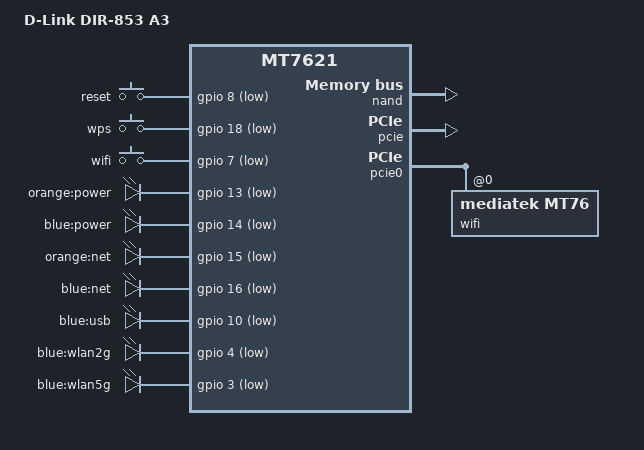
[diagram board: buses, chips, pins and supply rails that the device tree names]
// SPDX-License-Identifier: GPL-2.0-or-later OR MIT

#include "mt7621.dtsi"

#include <dt-bindings/gpio/gpio.h>
#include <dt-bindings/input/input.h>

/ {
	compatible = "dlink,dir-853-a3", "mediatek,mt7621-soc";
	model = "D-Link DIR-853 A3";

	aliases {
		label-mac-device = &gmac0;
		led-boot = &led_power_orange;
		led-failsafe = &led_power_blue;
		led-running = &led_power_blue;
		led-upgrade = &led_net_orange;
	};

	keys {
		compatible = "gpio-keys";

		reset {
			label = "reset";
			gpios = <&gpio 8 GPIO_ACTIVE_LOW>;
			linux,code = <KEY_RESTART>;
		};

		wps {
			label = "wps";
			gpios = <&gpio 18 GPIO_ACTIVE_LOW>;
			linux,code = <KEY_WPS_BUTTON>;
		};

		wifi {
			label = "wifi";
			gpios = <&gpio 7 GPIO_ACTIVE_LOW>;
			linux,code = <KEY_RFKILL>;
		};
	};

	leds {
		compatible = "gpio-leds";

		led_power_orange: power_orange {
			label = "orange:power";
			gpios = <&gpio 13 GPIO_ACTIVE_LOW>;
		};

		led_power_blue: power_blue {
			label = "blue:power";
			gpios = <&gpio 14 GPIO_ACTIVE_LOW>;
		};

		led_net_orange: net_orange {
			label = "orange:net";
			gpios = <&gpio 15 GPIO_ACTIVE_LOW>;
		};

		net_blue {
			label = "blue:net";
			gpios = <&gpio 16 GPIO_ACTIVE_LOW>;
		};

		usb_blue {
			label = "blue:usb";
			gpios = <&gpio 10 GPIO_ACTIVE_LOW>;
			trigger-sources = <&xhci_ehci_port1>;
			linux,default-trigger = "usbport";
		};

		wlan2g {
			label = "blue:wlan2g";
			gpios = <&gpio 4 GPIO_ACTIVE_LOW>;
			linux,default-trigger = "phy0radio";
		};

		wlan5g {
			label = "blue:wlan5g";
			gpios = <&gpio 3 GPIO_ACTIVE_LOW>;
			linux,default-trigger = "phy1radio";
		};
	};
};

&nand {
	status = "okay";

	partitions {
		compatible = "fixed-partitions";
		#address-cells = <1>;
		#size-cells = <1>;

		partition@0 {
			label = "u-boot";
			reg = <0x0 0x80000>;
			read-only;
		};

		partition@80000 {
			label = "config";
			reg = <0x80000 0x80000>;
			read-only;
		};

		factory: partition@100000 {
			label = "factory";
			reg = <0x100000 0x40000>;
			read-only;
		};

		partition@140000 {
			label = "config2";
			reg = <0x140000 0x40000>;
			read-only;
		};

		partition@180000 {
			label = "firmware";
			compatible = "openwrt,uimage", "denx,uimage";
			openwrt,padding = <96>;
			reg = <0x180000 0x2800000>;
		};

		partition@2980000 {
			label = "private";
			reg = <0x2980000 0x2000000>;
			read-only;
		};

		partition@4980000 {
			label = "firmware2";
			reg = <0x4980000 0x2800000>;
		};

		partition@7180000 {
			label = "mydlink";
			reg = <0x7180000 0x600000>;
			read-only;
		};

		partition@7780000 {
			label = "reserved";
			reg = <0x7780000 0x880000>;
			read-only;
		};
	};
};

&pcie {
	status = "okay";
};

&pcie0 {
	wifi@0,0 {
		compatible = "mediatek,mt76";
		reg = <0x0000 0 0 0 0>;
		mediatek,mtd-eeprom = <&factory 0x0>;
		/* 5 GHz (phy1) does not take the address from calibration data,
		   but setting it manually here works */
		mtd-mac-address = <&factory 0x4>;
	};
};

&gmac0 {
	mtd-mac-address = <&factory 0xe000>;
};

&switch0 {
	ports {
		port@0 {
			status = "okay";
			label = "lan4";
		};

		port@1 {
			status = "okay";
			label = "lan3";
		};

		port@2 {
			status = "okay";
			label = "lan2";
		};

		port@3 {
			status = "okay";
			label = "lan1";
		};

		port@4 {
			status = "okay";
			label = "wan";
			mtd-mac-address = <&factory 0xe006>;
		};
	};
};

&state_default {
	gpio {
		groups = "i2c", "uart2", "uart3", "jtag", "wdt";
		function = "gpio";
	};
};
